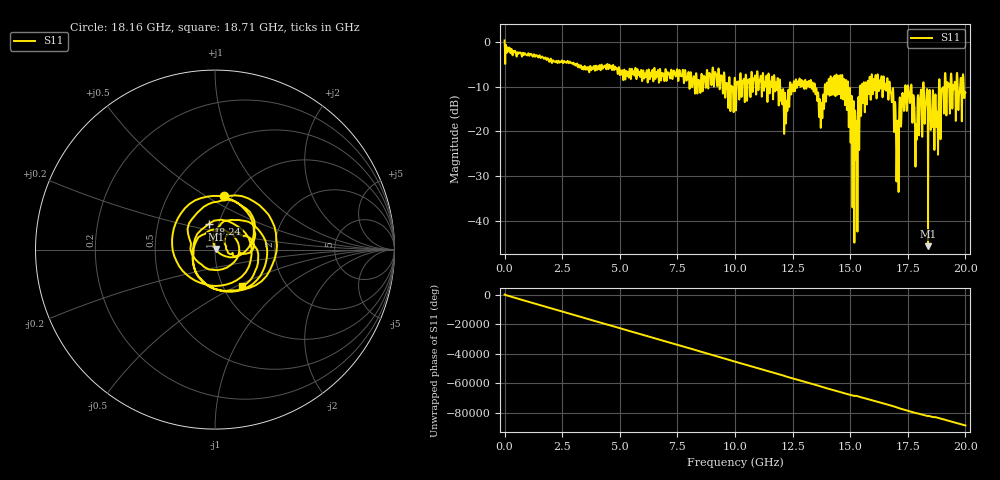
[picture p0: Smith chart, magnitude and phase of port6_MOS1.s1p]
! MS46122B
! 2250307/22442219
! 7/28/2025 2:04:32 PM
! C:\USERS\SPARKY\DOCUMENTS\VNA_DATA\JULY28_2025\3K\PORT6_MOS1.S1P
! CHANNEL.1
! TR.MEASUREMENT
! RAW.DATA
# GHZ S RI R 50.0
! FREQ.GHZ  S11RE  S11IM
!; PortSelection: Port_1
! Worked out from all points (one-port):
!   10001 points, 1 MHz to 20 GHz, reference 50 ohm
!   lowest |S11| = -45.7 dB at 18.38 GHz (marker M1), VSWR 1.01, Z = 50.4 + j0.359 ohm
!   |S11| at or under -10 dB: 14.91 GHz to 15.43 GHz (516 MHz wide, 3.4 % of centre); 16.73 GHz to 17.39 GHz (657.4 MHz wide, 3.85 % of centre); 18.2 GHz to 18.85 GHz (651.9 MHz wide, 3.52 % of centre) (the widest 3 of 86)
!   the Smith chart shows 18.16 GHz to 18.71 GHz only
!   S11 on the Smith chart (normalised r, x): 18.16 GHz: 0.92, +0.60; 18.24 GHz: 0.90, +0.26; 18.71 GHz: 1.23, -0.53
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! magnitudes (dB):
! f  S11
! 1 MHz  0.4
! 2.501 GHz  -4.1
! 5.001 GHz  -7.4
! 7.501 GHz  -6.3
! 9.213 GHz  -8.5
! 10 GHz  -8.1
! 11.77 GHz  -9.0
! 12.2 GHz  -16.6
! 12.5 GHz  -10.5
! 13.37 GHz  -9.0
! 13.72 GHz  -19.2
! 14.07 GHz  -8.3
! 14.57 GHz  -7.4
! 15 GHz  -13.4
! 15.25 GHz  -25.6
! 15.51 GHz  -9.4
! 16.53 GHz  -9.3
! 16.78 GHz  -11.8
! 17.04 GHz  -20.6
! 17.22 GHz  -17.5
! 17.5 GHz  -9.7
! 17.9 GHz  -20.6
! 18.16 GHz  -10.5
! 18.24 GHz  -16.6
! 18.38 GHz  -45.7
! 18.71 GHz  -11.9
! 19.05 GHz  -12.6
! 20 GHz  -11.3
